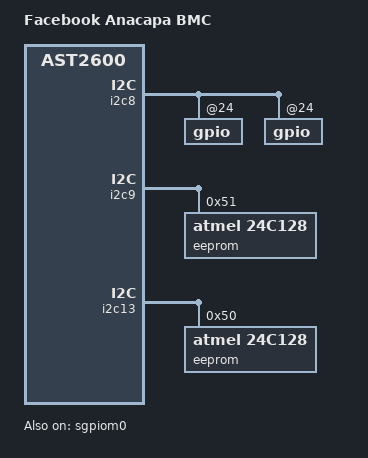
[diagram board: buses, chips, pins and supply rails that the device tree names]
// SPDX-License-Identifier: GPL-2.0-or-later

/dts-v1/;
#include "aspeed-bmc-facebook-anacapa-evt1.dts"

/ {
	model = "Facebook Anacapa BMC";
	compatible = "facebook,anacapa-bmc-evt2", "aspeed,ast2600";
};

// MB - PDB
&i2c8 {
	i2c-mux@72 {
		i2c8mux0ch0: i2c@0 {
			gpio@24 {
				gpio-line-names =
					"RPDB_EAM2_PRSNT_MOS_N_R", "RPDB_EAM3_PRSNT_MOS_N_R",
					"RPDB_PWRGD_P50V_HSC4_SYS_R",
					"RPDB_PWRGD_P50V_STBY_SYS_BUF_R",
					"RPDB_P50V_FAN5_R2_PG", "RPDB_P50V_FAN6_R2_PG",
					"RPDB_P50V_FAN7_R2_PG", "RPDB_P50V_FAN8_R2_PG",
					"", "RPDB_FAN5_PRSNT_N_R",
					"", "RPDB_FAN6_PRSNT_N_R",
					"RPDB_FAN7_PRSNT_N_R", "RPDB_FAN8_PRSNT_N_R",
					"", "";
			};
		};
		i2c8mux0ch1: i2c@1 {
			gpio@24 {
				gpio-line-names =
					"LPDB_P50V_FAN0_R2_PG","LPDB_P50V_FAN1_R2_PG",
					"LPDB_P50V_FAN2_R2_PG","LPDB_P50V_FAN3_R2_PG",
					"LPDB_P50V_FAN4_R2_PG","LPDB_FAN0_PRSNT_N_R",
					"LPDB_FAN1_PRSNT_N_R","LPDB_FAN2_PRSNT_N_R",
					"LPDB_FAN3_PRSNT_N_R","LPDB_FAN4_PRSNT_N_R",
					"","",
					"","",
					"","";
			};
		};
	};
};

// SCM
&i2c9 {

	// SCM FRU
	// | DC-SCM Rev        | Slave address of eeprom  |
	// |-------------------|--------------------------|
	// | Rev B             | 0x50                     |
	// | Rev C/D/E/F/above | 0x51                     |
	eeprom@51 {
		compatible = "atmel,24c128";
		reg = <0x51>;
	};
};

// MB
&i2c13 {
	i2c-mux@70 {
		i2c13mux0ch7: i2c@7 {
			// NFC adaptor board FRU
			eeprom@50 {
				compatible = "atmel,24c128";
				reg = <0x50>;
			};
		};
	};
};

&sgpiom0 {
	ngpios = <128>;
	bus-frequency = <2000000>;
	gpio-line-names =
	/*in - out */
	/* A0-A7 line 0-15 */
	"L_FNIC_FLT", "FM_CPU0_SYS_RESET_N",
	"L_BNIC0_FLT", "CPU0_KBRST_N",
	"L_BNIC1_FLT", "FM_CPU0_PROCHOT_trigger_N",
	"L_BNIC2_FLT", "FM_CLR_CMOS_R_P0",
	"L_BNIC3_FLT", "Force_I3C_SEL",
	"L_RTM_SW_FLT", "SYSTEM_Force_Run_AC_Cycle",
	"", "",
	"", "",

	/* B0-B7 line 16-31 */
	"Channel0_leakage_EAM3", "FM_CPU_FPGA_JTAG_MUX_SEL",
	"Channel1_leakage_EAM0", "FM_SCM_JTAG_MUX_SEL",
	"Channel2_leakage_Manifold1", "FM_BRIDGE_JTAG_MUX_SEL",
	"Channel5_leakage_present_EAM1", "FM_CPU0_NMI_SYNC_FLOOD_N",
	"Channel4_leakage_Manifold2", "BMC_AINIC0_WP_R2_L",
	"Channel5_leakage_EAM1", "BMC_AINIC1_WP_R2_L",
	"Channel6_leakage_CPU_DIMM", "CPLD_BUF_R_AGPIO330",
	"Channel7_leakage_EAM2", "CPLD_BUF_R_AGPIO331",

	/* C0-C7 line 32-47 */
	"RSVD_RMC_GPIO3", "RTM_MUX_L",
	"LEAK_DETECT_RMC_N", "RTM_MUX_R",
	"HDR_P0_NMI_BTN_BUF_R_N", "FPGA_JTAG_SCM_DBREQ_N",
	"Channel6_leakage_present_CPU_DIMM", "whdt_sel",
	"", "JTAG_CPLD_TRST_R_N",
	"", "",
	"", "",
	"", "",

	/* D0-D7 line 48-63 */
	"Channel0_leakage_present_EAM3", "",
	"Channel1_leakage_present_EAM0", "",
	"Channel2_leakage_present_Manifold1", "",
	"Channel4_leakage_present_Manifold2", "",
	"AMC_BRD_PRSNT_CPLD_L", "",
	"Channel7_leakage_present_EAM2", "",
	"", "",
	"", "",

	/* E0-E7 line 64-79 */
	"L_PRSNT_B_FENIC_R2_N", "",
	"L_PRSNT_B_BENIC0_R2_N", "",
	"L_PRSNT_B_BENIC1_R2_N", "",
	"L_PRSNT_B_BENIC2_R2_N", "",
	"L_PRSNT_B_BENIC3_R2_N", "",
	"", "",
	"", "",
	"", "",

	/* F0-F7 line 80-95 */
	"R_PRSNT_B_FENIC_R2_N", "SGPIO_READY",
	"R_PRSNT_B_BENIC0_R2_N", "",
	"R_PRSNT_B_BENIC1_R2_N", "",
	"R_PRSNT_B_BENIC2_R2_N", "",
	"R_PRSNT_B_BENIC3_R2_N", "",
	"", "",
	"", "",
	"", "",

	/* G0-G7 line 96-111 */
	"L_PRSNT_EDSFF0_N", "",
	"L_PRSNT_EDSFF1_N", "",
	"R_PRSNT_EDSFF2_N", "",
	"R_PRSNT_EDSFF3_N", "",
	"HPM_EDSFF_PG", "",
	"", "",
	"", "FM_BMC_READY_PLD",
	"PRSNT_NFC_BOARD_R", "",

	/* H0-H7 line 112-127 */
	"R_FNIC_FLT", "",
	"R_BNIC0_FLT", "",
	"R_BNIC1_FLT", "",
	"R_BNIC2_FLT", "",
	"R_BNIC3_FLT", "",
	"R_RTM_SW_FLT", "",
	"", "",
	"", "",

	/* I0-I7 line 128-143 */
	"EAM0_BRD_PRSNT_R_L", "",
	"EAM1_BRD_PRSNT_R_L", "",
	"EAM2_BRD_PRSNT_R_L", "",
	"EAM3_BRD_PRSNT_R_L", "",
	"FM_TPM_PRSNT_R_N", "",
	"PDB_L_PRSNT_R_N", "",
	"PRSNT_EDSFF_BOOT_N", "",
	"PRSNT_CPU0_N", "",

	/* J0-J7 line 144-159 */
	"PRSNT_L_BRIDGE_R", "",
	"PRSNT_R_BRIDGE_R", "",
	"BRIDGE_L_MAIN_PG_R", "",
	"BRIDGE_R_MAIN_PG_R", "",
	"BRIDGE_L_STBY_PG_R", "",
	"BRIDGE_R_STBY_PG_R", "",
	"IRQ_NFC_BOARD_R", "",
	"RSMRST_N", "",

	/* K0-K7 line 160-175 */
	"ADC_I2C_ALERT_N", "",
	"TEMP_I2C_ALERT_R_L", "",
	"CPU0_VR_SMB_ALERT_CPLD_N", "",
	"COVER_INTRUDER_R_N", "",
	"HANDLE_INTRUDER_CPLD_N", "",
	"IRQ_MCIO_CPLD_WAKE_R_N", "",
	"APML_CPU0_ALERT_R_N", "",
	"PDB_ALERT_R_N", "",

	/* L0-L7 line 176-191 */
	"L_EDSFF0_PG", "",
	"L_EDSFF1_PG", "",
	"R_EDSFF2_PG", "",
	"R_EDSFF3_PG", "",
	"HPM_CPLD_HEART_BIT", "",
	"RBB_CPLD_HEART_BIT", "",
	"LBB_CPLD_HEART_BIT", "",
	"FM_BIOS_POST_CMPLT_R_N", "",

	/* M0-M7 line 192-207 */
	"EAM0_SMERR_CPLD_R_L", "",
	"EAM1_SMERR_CPLD_R_L", "",
	"EAM2_SMERR_CPLD_R_L", "",
	"EAM3_SMERR_CPLD_R_L", "",
	"CPU0_SMERR_N_R", "",
	"CPU0_NV_SAVE_N_R", "",
	"PDB_PWR_LOSS_CPLD_N", "",
	"IRQ_BMC_SMI_ACTIVE_R_N", "",

	/* N0-N7 line 208-223 */
	"AMCROT_BMC_S5_RDY_R", "",
	"AMC_RDY_R", "",
	"AMC_STBY_PGOOD_R", "",
	"CPU_AMC_SLP_S5_R_L", "",
	"AMC_CPU_EAMPG_R", "",
	"DIMM_PMIC_PG_TIMEOUT", "",
	"EAM_MOD_PWR_GD_TIMEOUT", "",
	"CPLD_AMC_STBY_PWR_EN", "",

	/* O0-O7 line 224-239 */
	"HPM_PWR_FAIL", "Port80_b0",
	"FM_DIMM_IP_FAIL", "Port80_b1",
	"FM_DIMM_AH_FAIL", "Port80_b2",
	"AMC_THERMTRIP_ASSERT", "Port80_b3",
	"CPU_THERMTRIP_ASSERT", "Port80_b4",
	"PVDDCR_SOC_P0_OCP_L", "Port80_b5",
	"CPLD_SGPIO_RDY", "Port80_b6",
	"FM_MAIN_PWREN_RMC_EN_ISO", "Port80_b7",

	/* P0-P7 line 240-255 */
	"CPU0_SLP_S5_N_R", "NFC_VEN",
	"CPU0_SLP_S3_N_R", "",
	"FM_CPU0_PWRGD", "",
	"PWRGD_RMC", "",
	"FM_RST_CPU0_RESET_N", "RBB_CPLD_RISCV_RST",
	"FM_PWRGD_CPU0_PWROK", "LBB_CPLD_RISCV_RST",
	"AMC_FAIL", "HPM_CPLD_RISCV_RST",
	"S0_ON", "";

	status = "okay";
};

